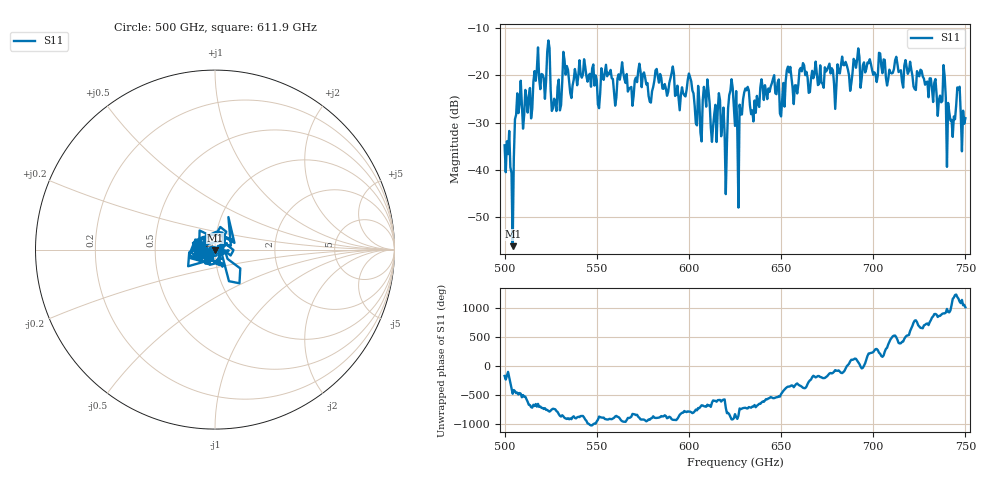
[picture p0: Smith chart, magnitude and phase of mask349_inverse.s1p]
!Created with skrf (http://scikit-rf.org).
# GHz S MA R 50.0
!freq magS11 angS11
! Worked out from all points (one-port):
!   401 points, 500 GHz to 750 GHz, reference 50 ohm
!   lowest |S11| = -56.1 dB at 504.4 GHz (marker M1), VSWR 1.00, Z = 49.9 - j0.138 ohm
!   |S11| at or under -10 dB: start of sweep to end of sweep
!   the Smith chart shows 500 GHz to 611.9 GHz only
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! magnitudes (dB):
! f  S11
! 500 GHz  -34.8
! 504.4 GHz  -56.1
! 508.1 GHz  -26.1
! 523.8 GHz  -12.7
! 526.9 GHz  -25.0
! 531.2 GHz  -21.6
! 562.5 GHz  -21.0
! 579.4 GHz  -25.8
! 590.6 GHz  -19.5
! 593.8 GHz  -22.2
! 600.6 GHz  -20.4
! 605.6 GHz  -25.3
! 609.4 GHz  -26.7
! 613.8 GHz  -28.2
! 617.5 GHz  -32.9
! 619.4 GHz  -32.5
! 622.5 GHz  -23.3
! 625 GHz  -30.7
! 627.5 GHz  -26.2
! 631.2 GHz  -23.2
! 635 GHz  -29.8
! 656.2 GHz  -22.7
! 687.5 GHz  -23.3
! 718.8 GHz  -19.7
! 738.1 GHz  -17.9
! 741.2 GHz  -27.9
! 746.2 GHz  -23.0
! 750 GHz  -29.1
